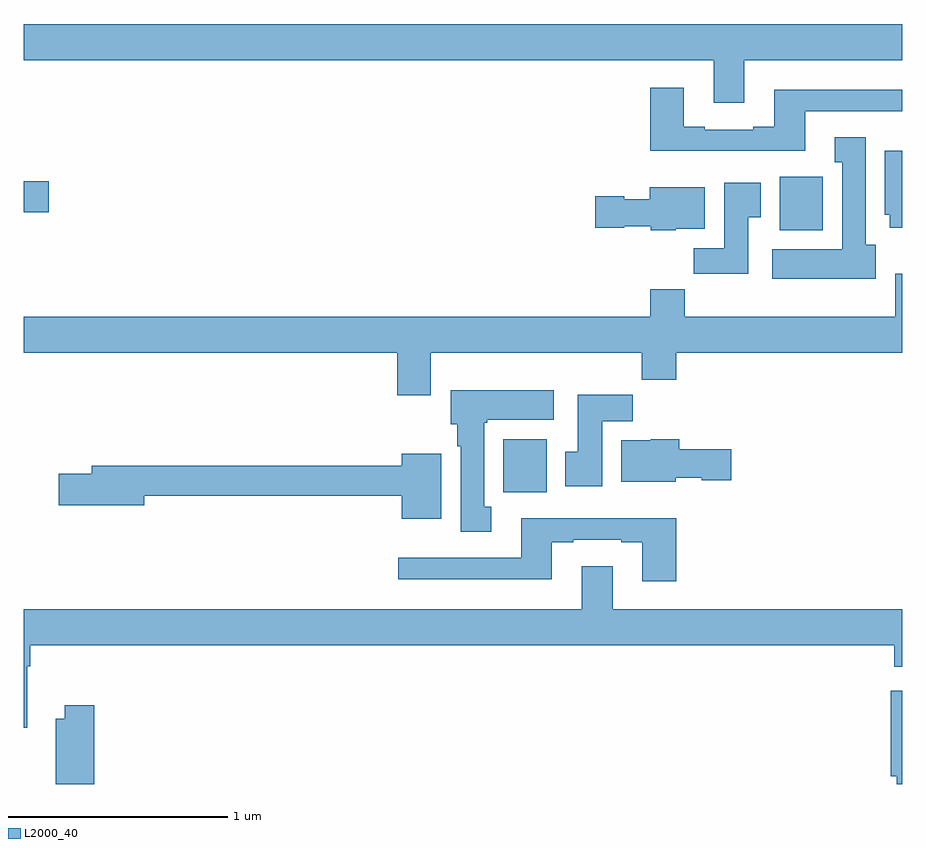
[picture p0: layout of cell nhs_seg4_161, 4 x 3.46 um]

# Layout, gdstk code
import gdstk
lib = gdstk.Library(unit=1e-6, precision=1e-09)
def R(c, l, rs):  # rectangles x0, y0, x1, y1
    for r in rs: c.add(gdstk.rectangle(r[:2], r[2:], *l))
def P(c, l, *ps):  # polygons
    for p in ps: c.add(gdstk.Polygon(p, *l))
L2000_40 = (2000, 40)

nhs_seg4_161 = lib.new_cell('nhs_seg4_161')
R(nhs_seg4_161, L2000_40, [(121.184,752.228,121.381,752.47), (122.441,753.422,122.638,753.664), (119,753.502,119.113,753.644)])
P(nhs_seg4_161, L2000_40, [(122.281,754.196),(123,754.196),(123,754.36),(119,754.36),(119,754.196),(122.141,754.196),(122.141,754.002),(122.281,754.002)],
  [(122.557,753.963),(123,753.963),(123,754.06),(122.417,754.06),(122.417,753.892),(122.321,753.892),(122.321,753.879),(122.101,753.879),(122.101,753.892),(122.005,753.892),(122.005,754.069),(121.853,754.069),(121.853,753.782),(122.557,753.782)],
  [(122.878,753.354),(122.833,753.354),(122.833,753.844),(122.693,753.844),(122.693,753.731),(122.726,753.731),(122.726,753.334),(122.409,753.334),(122.409,753.2),(122.878,753.2)],
  [(123,753.784),(122.921,753.784),(122.921,753.492),(122.942,753.492),(122.942,753.432),(123,753.432)],
  [(122.299,753.481),(122.356,753.481),(122.356,753.637),(122.189,753.637),(122.189,753.34),(122.05,753.34),(122.05,753.222),(122.299,753.222)],
  [(121.968,753.428),(122.101,753.428),(122.101,753.616),(121.85,753.616),(121.85,753.562),(121.734,753.562),(121.734,753.575),(121.602,753.575),(121.602,753.433),(121.734,753.433),(121.734,753.44),(121.854,753.44),(121.854,753.422),(121.968,753.422)],
  [(120.853,752.864),(121.813,752.864),(121.813,752.74),(121.97,752.74),(121.97,752.864),(123,752.864),(123,753.223),(122.969,753.223),(122.969,753.028),(122.009,753.028),(122.009,753.152),(121.853,753.152),(121.853,753.028),(119,753.028),(119,752.864),(120.701,752.864),(120.701,752.67),(120.853,752.67)],
  [(121.129,752.162),(121.096,752.162),(121.096,752.545),(121.11,752.545),(121.11,752.558),(121.414,752.558),(121.414,752.692),(120.944,752.692),(120.944,752.538),(120.974,752.538),(120.974,752.438),(120.989,752.438),(120.989,752.049),(121.129,752.049)],
  [(121.633,752.552),(121.772,752.552),(121.772,752.671),(121.523,752.671),(121.523,752.412),(121.466,752.412),(121.466,752.256),(121.633,752.256)],
  [(121.968,752.294),(122.088,752.294),(122.088,752.282),(122.221,752.282),(122.221,752.424),(121.985,752.424),(121.985,752.47),(121.854,752.47),(121.854,752.464),(121.721,752.464),(121.721,752.276),(121.968,752.276)],
  [(120.901,752.404),(120.722,752.404),(120.722,752.348),(119.309,752.348),(119.309,752.312),(119.16,752.312),(119.16,752.17),(119.548,752.17),(119.548,752.212),(120.722,752.212),(120.722,752.108),(120.901,752.108)],
  [(121.97,752.11),(121.265,752.11),(121.265,751.929),(120.705,751.929),(120.705,751.832),(121.405,751.832),(121.405,752.001),(121.501,752.001),(121.501,752.013),(121.721,752.013),(121.721,752.001),(121.817,752.001),(121.817,751.824),(121.97,751.824)],
  [(119.017,751.436),(119.03,751.436),(119.03,751.532),(122.963,751.532),(122.963,751.433),(123,751.433),(123,751.696),(121.681,751.696),(121.681,751.891),(121.541,751.891),(121.541,751.696),(119,751.696),(119,751.155),(119.017,751.155)],
  [(123,751.324),(122.948,751.324),(122.948,750.935),(122.974,750.935),(122.974,750.9),(123,750.9)],
  [(119.321,751.258),(119.186,751.258),(119.186,751.198),(119.146,751.198),(119.146,750.9),(119.321,750.9)])

lib.write_gds('nhs_seg4_161.gds')
